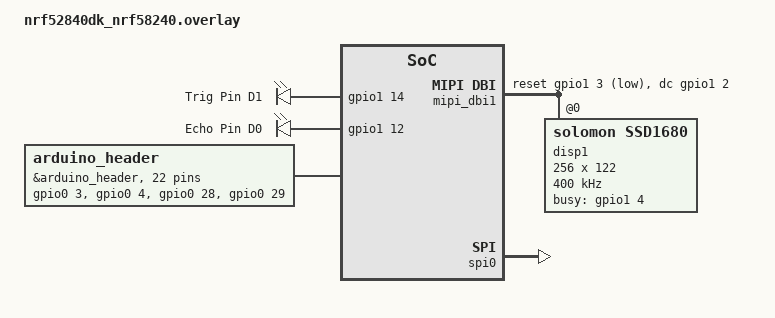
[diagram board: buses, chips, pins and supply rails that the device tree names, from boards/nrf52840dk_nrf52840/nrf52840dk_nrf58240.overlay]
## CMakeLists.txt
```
cmake_minimum_required(VERSION 3.20.0)
find_package(Zephyr REQUIRED HINTS $ENV{ZEPHYR_BASE})

project(UltraSonic)

target_sources(app PRIVATE src/main.c src/text.c)
```

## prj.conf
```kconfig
CONFIG_SENSOR=y
CONFIG_GPIO=y
CONFIG_LOG=y
CONFIG_DISPLAY=y
CONFIG_SSD16XX=y


CONFIG_SERIAL=y
CONFIG_UART_CONSOLE=y
CONFIG_CONSOLE=y
CONFIG_GPIO_NRFX=y

CONFIG_SPI=y
CONFIG_SPI_NRFX=y


# Enable logging for DHT sensor (optional)
```

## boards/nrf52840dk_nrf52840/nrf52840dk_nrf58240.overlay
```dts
/ {
 leds {
    compatible = "gpio-leds";

      trig_pin: trig_pin {
            gpios = <&gpio1 14 GPIO_ACTIVE_HIGH>;
            label = "Trig Pin D1";
        };

        echo_pin: echo_pin {
            gpios = <&gpio1 12 GPIO_ACTIVE_HIGH>;
            label = "Echo Pin D0";
        };
};

aliases {
        trig = &trig_pin;
        echo = &echo_pin;
};


   chosen {
       zephyr,display = &disp1;
   };


   mipi_dbi1 {
       compatible = "zephyr,mipi-dbi-spi";
       dc-gpios = <&gpio1 2 GPIO_ACTIVE_HIGH>;
       reset-gpios = <&gpio1 3 GPIO_ACTIVE_LOW>;
       spi-dev = <&spi0>;
       write-only;
       #address-cells = <1>;
       #size-cells = <0>;
       status = "okay";


       disp1: ssd1680@0 {
           compatible = "solomon,ssd1680";
           reg = <0>;
           busy-gpios = <&gpio1 4 (GPIO_PULL_DOWN | GPIO_ACTIVE_HIGH)>;
           width = <256>;
           height = <122>;
           rotation = <0>;
           mipi-max-frequency = <400000>;  
          


           full {
               // lut = [ 22 55 AA 55 AA 55 AA 11 00 00 00 00 00 00 00 00 1E 1E 1E 1E 1E 1E 1E 1E 01 00 00 00 00 00 ];
           };
         
           partial{
           //     lut = [ 18 00 00 00 00 00 00 00 00 00 00 00 00 00 00 00 0f 01 00 00 00 00 00 00 00 00 00 00 00 00 ];
            };


           status = "okay";
       };
   };
};




&spi0 {
   status = "okay";
   cs-gpios = <&gpio1 1 GPIO_ACTIVE_LOW>;
};


&gpio1 {
   status = "okay";
};


&arduino_i2c {
   status = "disabled";
};


&arduino_header {
   gpio-map = <0 0 &gpio0 3 0>,
              <1 0 &gpio0 4 0>,
              <2 0 &gpio0 28 0>,
              <3 0 &gpio0 29 0>,
              <4 0 &gpio0 30 0>,
              <5 0 &gpio0 31 0>,
              <6 0 &gpio1 1 0>,
              <7 0 &gpio1 2 0>,
              <8 0 &gpio1 3 0>,
              <9 0 &gpio1 4 0>,
              <10 0 &gpio1 5 0>,
              <11 0 &gpio1 6 0>,
              <12 0 &gpio1 7 0>,
              <13 0 &gpio1 8 0>,
              <14 0 &gpio1 10 0>,
              <15 0 &gpio1 11 0>,
              <16 0 &gpio1 12 0>,
              <17 0 &gpio1 13 0>,
              <18 0 &gpio1 14 0>,
              <19 0 &gpio1 15 0>,
              <20 0 &gpio0 26 0>,
              <21 0 &gpio0 27 0>;
};
```

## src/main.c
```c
#include <zephyr/kernel.h>
#include <zephyr/device.h>
#include <zephyr/drivers/gpio.h>
#include <zephyr/sys/printk.h>
#include <zephyr/devicetree.h>
#include "text.h"
#include <zephyr/drivers/display.h>
#include <string.h>
#include <zephyr/drivers/sensor.h>
#include <zephyr/logging/log.h>
#include <stdlib.h>            // for abs


#define TRIG_NODE DT_ALIAS(trig)
#define ECHO_NODE DT_ALIAS(echo)

static const struct gpio_dt_spec trig = GPIO_DT_SPEC_GET(TRIG_NODE, gpios);
static const struct gpio_dt_spec echo = GPIO_DT_SPEC_GET(ECHO_NODE, gpios);

#define DISPLAY_WIDTH      256
#define DISPLAY_HEIGHT     120
#define DISPLAY_PITCH      DISPLAY_WIDTH
#define DISPLAY_BYTE_PITCH ((DISPLAY_WIDTH + 7) / 8)
#define DISPLAY_BUF_SIZE   (DISPLAY_BYTE_PITCH * DISPLAY_HEIGHT)
LOG_MODULE_REGISTER(main);

#define PIXEL_ON 0
#define PIXEL_OFF 1

static uint8_t raw_buf[DISPLAY_WIDTH * DISPLAY_HEIGHT];  // 1 byte per pixel
static uint8_t buf[DISPLAY_BUF_SIZE];



extern void set_pixel(int x, int y) {
   if (x < 0 || x >= DISPLAY_WIDTH || y < 0 || y >= DISPLAY_HEIGHT) {
       return;
   }
   raw_buf[y * DISPLAY_WIDTH + x] = PIXEL_ON;
}

static void color_white(int x, int y){
      if (x < 0 || x >= DISPLAY_WIDTH || y < 0 || y >= DISPLAY_HEIGHT) {
       return;
   }
   raw_buf[y * DISPLAY_WIDTH + x] = PIXEL_OFF;
   
}
static void pack_buffer(void) {
   memset(buf, 0xFF, sizeof(buf));  // Set all to white
   for (int y = 0; y < DISPLAY_HEIGHT; y++) {
       for (int x = 0; x < DISPLAY_WIDTH; x++) {
           if (raw_buf[y * DISPLAY_WIDTH + x] == PIXEL_ON) {
               int byte_index = x + (y / 8) * DISPLAY_WIDTH;
               int bit_pos = 7 - (y % 8);
               buf[byte_index] &= ~(1 << bit_pos);
               // LOG_INF("PACK: (x=%d y=%d) -> Byte %d, bit %d", x, y, byte_index, bit_pos);
           }
       }
   }
}

int main(void)
{

    const struct device *display_dev = DEVICE_DT_GET(DT_CHOSEN(zephyr_display));
   const struct device *reset_dev   = device_get_binding("GPIO_1");
   const struct device *spi_dev     = DEVICE_DT_GET(DT_NODELABEL(spi0));
   const struct device *gpio_dev    = DEVICE_DT_GET(DT_NODELABEL(gpio1));


   if (reset_dev) {
       gpio_pin_configure(reset_dev, 3, GPIO_OUTPUT);
       gpio_pin_set(reset_dev, 3, 0);
       k_sleep(K_MSEC(10));
       gpio_pin_set(reset_dev, 3, 1);
       k_sleep(K_MSEC(10));
   }    


   LOG_INF("SPI ready? %d", device_is_ready(spi_dev));
   LOG_INF("GPIO1 ready? %d", device_is_ready(gpio_dev));
   LOG_INF("Chosen display node: %s", DT_NODE_FULL_NAME(DT_CHOSEN(zephyr_display)));


   LOG_INF("Delaying for display power up");
   k_msleep(100);


   if (!device_is_ready(display_dev)) {
       LOG_ERR("Display device not ready");
       return -1;
   }


   LOG_INF("DEVICE IS READY!!!");
   LOG_INF("Display device name: %s", display_dev->name);


   display_blanking_off(display_dev);
   memset(raw_buf, 1, sizeof(raw_buf));  // White pixels


   struct display_buffer_descriptor desc = {
       .width = DISPLAY_WIDTH,
       .height = DISPLAY_HEIGHT,
       .pitch = DISPLAY_PITCH,
       .buf_size = DISPLAY_BUF_SIZE,
   };



    if (!device_is_ready(trig.port) || !device_is_ready(echo.port)) {
        printk("GPIO not ready\n");
        return 0;
    }
      gpio_pin_configure_dt(&trig, GPIO_OUTPUT_INACTIVE);
    gpio_pin_configure_dt(&echo, GPIO_INPUT);
    int count =0;
    float dist_prev=INT32_MIN;

while (1) {
    uint32_t start_ticks = 0, end_ticks = 0;
    uint32_t pulse_duration = 0;
    float distance_cm = 0.0f;

    /* Trigger a 10 µs pulse */
    gpio_pin_set_dt(&trig, 1);
    k_busy_wait(10);
    gpio_pin_set_dt(&trig, 0);

    /* Measure echo pulse width */
    while (gpio_pin_get_dt(&echo) == 0) { /* wait for rising edge */ }
    start_ticks = k_cycle_get_32();

    while (gpio_pin_get_dt(&echo) == 1) { /* wait for falling edge */ }
    end_ticks = k_cycle_get_32();

    pulse_duration = k_cyc_to_us_floor32(end_ticks - start_ticks);
    distance_cm = pulse_duration / 58.0f;  /* HC-SR04 approx: us / 58 = cm */

    /* Print without floats: keep 2 decimals using fixed-point (cm * 100) */
    int cm_x100 = (int)(distance_cm * 100.0f + 0.5f);  // rounded

    /* Update display */
    memset(raw_buf, 0xFF, sizeof(raw_buf));  // clear to white
    char dist_str[50];
    printk("Distance: %d.%02d cm\n", cm_x100 / 100, cm_x100 % 100);

    if (dist_prev != distance_cm) {
    snprintk(dist_str, sizeof(dist_str),
             "Distance is %d.%02d cm", cm_x100 / 100, cm_x100 % 100);

    if (count % 2 == 0) {
        draw_string_8x10(dist_str, 32, 49);
    } else {
        draw_string_8x10(dist_str, 33, 50);
    }

    pack_buffer();
    display_write(display_dev, 0, 0, &desc, buf);
    memset(raw_buf, 0xFF, sizeof(raw_buf));
    count++;

    dist_prev = distance_cm;  // move this inside the condition
}

    k_msleep(200);
}



        return 0;


}
```
